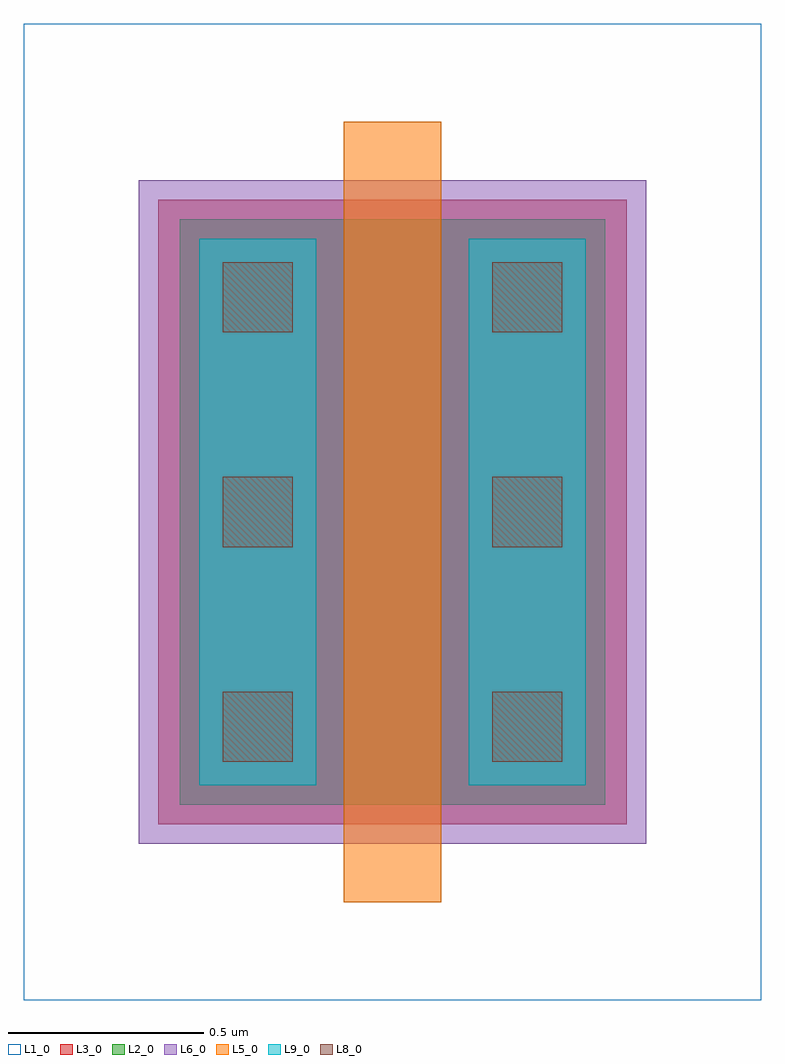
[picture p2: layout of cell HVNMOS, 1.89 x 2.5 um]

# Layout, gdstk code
import gdstk
lib = gdstk.Library(unit=1e-6, precision=1e-09)
def R(c, l, rs):  # rectangles x0, y0, x1, y1
    for r in rs: c.add(gdstk.rectangle(r[:2], r[2:], *l))
L1_0 = (1, 0)
L2_0 = (2, 0)
L3_0 = (3, 0)
L5_0 = (5, 0)
L6_0 = (6, 0)
L8_0 = (8, 0)
L9_0 = (9, 0)

hvnmos = lib.new_cell('HVNMOS')
R(hvnmos, L1_0, [(0,0,1.89,2.5)])
R(hvnmos, L2_0, [(0.4,0.5,1.49,2), (0.4,0.5,1.49,2)])
R(hvnmos, L3_0, [(0.345,0.45,1.545,2.05), (0.345,0.45,1.545,2.05)])
R(hvnmos, L5_0, [(0.82,0.25,1.07,2.25), (0.82,0.25,1.07,2.25)])
R(hvnmos, L6_0, [(0.295,0.4,1.595,2.1)])
R(hvnmos, L8_0, [(0.51,0.61,0.69,0.79), (0.51,0.61,0.69,0.79), (1.2,0.61,1.38,0.79), (1.2,0.61,1.38,0.79), (0.51,1.16,0.69,1.34), (0.51,1.16,0.69,1.34), (1.2,1.16,1.38,1.34), (1.2,1.16,1.38,1.34), (0.51,1.71,0.69,1.89), (0.51,1.71,0.69,1.89), (1.2,1.71,1.38,1.89), (1.2,1.71,1.38,1.89)])
R(hvnmos, L9_0, [(0.45,0.55,0.75,1.95), (1.14,0.55,1.44,1.95)])

lib.write_gds('HVNMOS.gds')
